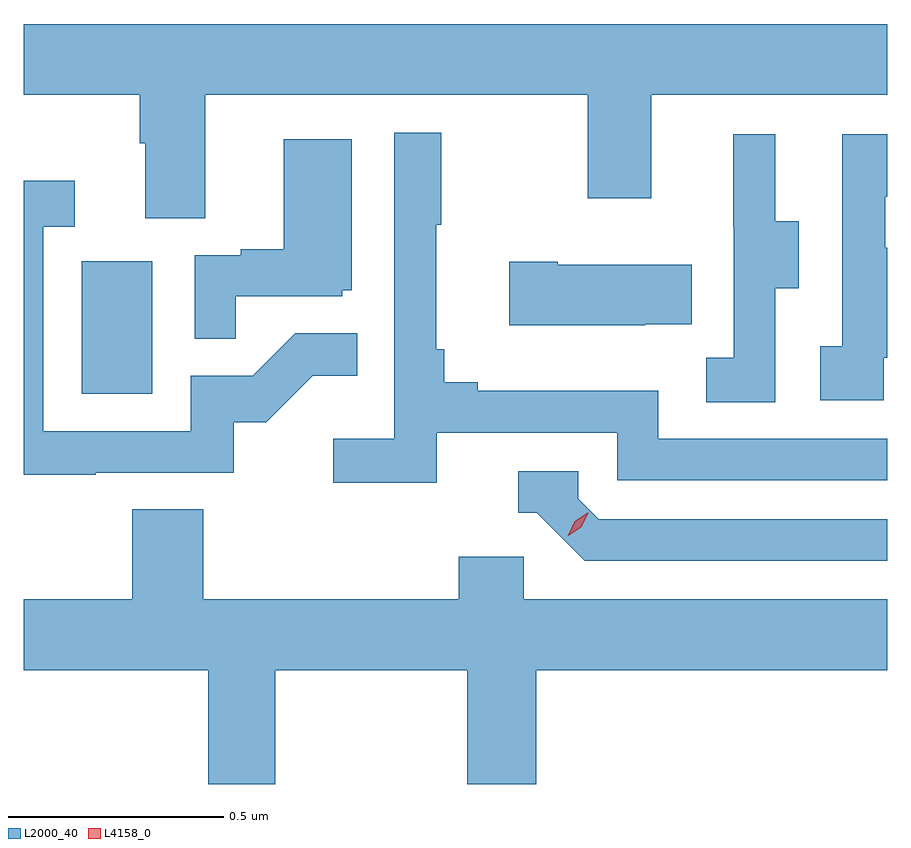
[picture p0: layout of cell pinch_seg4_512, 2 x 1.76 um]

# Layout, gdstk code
import gdstk
lib = gdstk.Library(unit=1e-6, precision=1e-09)
def R(c, l, rs):  # rectangles x0, y0, x1, y1
    for r in rs: c.add(gdstk.rectangle(r[:2], r[2:], *l))
def P(c, l, *ps):  # polygons
    for p in ps: c.add(gdstk.Polygon(p, *l))
L2000_40 = (2000, 40)
L4158_0 = (4158, 0)

pinch_seg4_512 = lib.new_cell('pinch_seg4_512')
R(pinch_seg4_512, L2000_40, [(994.49,757.5,994.654,757.807)])
P(pinch_seg4_512, L2000_40, [(994.777,758.192),(995.662,758.192),(995.662,757.953),(995.809,757.953),(995.809,758.192),(996.356,758.192),(996.356,758.356),(994.356,758.356),(994.356,758.192),(994.625,758.192),(994.625,758.08),(994.637,758.08),(994.637,757.906),(994.777,757.906)],
  [(995.312,757.41),(995.73,757.41),(995.73,757.299),(996.356,757.299),(996.356,757.395),(995.826,757.395),(995.826,757.507),(995.407,757.507),(995.407,757.526),(995.33,757.526),(995.33,757.603),(995.311,757.603),(995.311,757.891),(995.323,757.891),(995.323,758.104),(995.214,758.104),(995.214,757.396),(995.073,757.396),(995.073,757.294),(995.312,757.294)],
  [(996.096,757.744),(996.151,757.744),(996.151,757.899),(996.097,757.899),(996.097,758.101),(995.999,758.101),(995.999,757.887),(996,757.887),(996,757.583),(995.937,757.583),(995.937,757.48),(996.096,757.48)],
  [(996.348,757.583),(996.356,757.583),(996.356,757.838),(996.351,757.838),(996.351,757.956),(996.356,757.956),(996.356,758.101),(996.252,758.101),(996.252,757.61),(996.201,757.61),(996.201,757.485),(996.348,757.485)],
  [(994.847,757.725),(995.094,757.725),(995.094,757.74),(995.116,757.74),(995.116,758.089),(994.958,758.089),(994.958,757.834),(994.859,757.834),(994.859,757.821),(994.752,757.821),(994.752,757.627),(994.847,757.627)],
  [(994.523,757.317),(994.842,757.317),(994.842,757.434),(994.918,757.434),(995.025,757.541),(995.129,757.541),(995.129,757.64),(994.985,757.64),(994.887,757.542),(994.743,757.542),(994.743,757.413),(994.401,757.413),(994.401,757.887),(994.474,757.887),(994.474,757.993),(994.356,757.993),(994.356,757.312),(994.523,757.312)],
  [(995.795,757.661),(995.903,757.661),(995.903,757.798),(995.593,757.798),(995.593,757.806),(995.481,757.806),(995.481,757.658),(995.795,757.658)],
  [(996.356,757.209),(995.688,757.209),(995.64,757.257),(995.64,757.32),(995.501,757.32),(995.501,757.224),(995.544,757.224),(995.655,757.113),(996.356,757.113)],
  [(994.938,756.86),(995.383,756.86),(995.383,756.596),(995.543,756.596),(995.543,756.86),(996.356,756.86),(996.356,757.024),(995.514,757.024),(995.514,757.122),(995.363,757.122),(995.363,757.024),(994.772,757.024),(994.772,757.232),(994.607,757.232),(994.607,757.024),(994.356,757.024),(994.356,756.86),(994.783,756.86),(994.783,756.596),(994.938,756.596)])
P(pinch_seg4_512, L4158_0, [(995.617,757.171),(995.617,757.172),(995.632,757.204),(995.662,757.224),(995.663,757.224),(995.663,757.224),(995.647,757.191),(995.617,757.171)])

lib.write_gds('pinch_seg4_512.gds')
